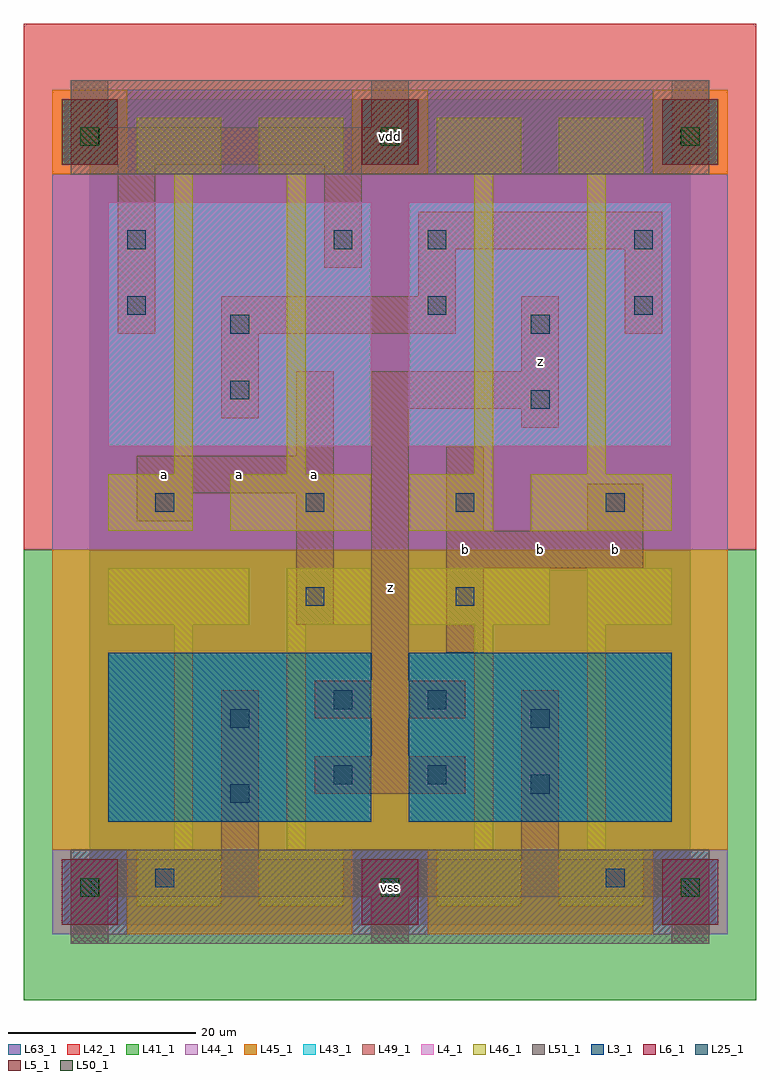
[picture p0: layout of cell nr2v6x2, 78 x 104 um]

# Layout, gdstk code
import gdstk
lib = gdstk.Library(unit=1e-6, precision=1e-09)
def R(c, l, rs):  # rectangles x0, y0, x1, y1
    for r in rs: c.add(gdstk.rectangle(r[:2], r[2:], *l))
def A(c, l, x, y, w, h, nx, ny, dx, dy):  # array of equal rectangles
    R(c, l, [(x+i*dx, y+j*dy, x+i*dx+w, y+j*dy+h) for i in range(nx) for j in range(ny)])
L3_1 = (3, 1)
L4_1 = (4, 1)
L5_1 = (5, 1)
L6_1 = (6, 1)
L25_1 = (25, 1)
L41_1 = (41, 1)
L42_1 = (42, 1)
L43_1 = (43, 1)
L44_1 = (44, 1)
L45_1 = (45, 1)
L46_1 = (46, 1)
L49_1 = (49, 1)
L50_1 = (50, 1)
L51_1 = (51, 1)
L63_1 = (63, 1)

nr2v6x2 = lib.new_cell('nr2v6x2')
R(nr2v6x2, L3_1, [(2,11,30,29), (34,11,62,29)])
R(nr2v6x2, L4_1, [(2,51,30,77), (34,51,62,77)])
A(nr2v6x2, L5_1, -3, 81, 6, 7, 3, 1, 32, 0)
R(nr2v6x2, L6_1, [(-3,0,3,7), (-3,0,3,7), (29,0,35,7), (29,0,35,7), (61,0,67,7), (61,0,67,7)])
A(nr2v6x2, L25_1, -1, 3, 2, 2, 3, 2, 32, 80)
A(nr2v6x2, L25_1, 7, 44, 2, 2, 4, 1, 16, 0)
R(nr2v6x2, L25_1, [(7,4,9,6), (55,4,57,6), (15,13,17,15), (47,14,49,16), (26,15,28,17), (36,15,38,17), (15,21,17,23), (47,21,49,23), (26,23,28,25), (36,23,38,25), (23,34,25,36), (39,34,41,36), (47,55,49,57), (15,56,17,58), (15,63,17,65), (47,63,49,65), (4,65,6,67), (36,65,38,67), (58,65,60,67), (4,72,6,74), (26,72,28,74), (36,72,38,74), (58,72,60,74)])
R(nr2v6x2, L41_1, [(-7,-8,71,40)])
R(nr2v6x2, L42_1, [(-7,40,71,96)])
A(nr2v6x2, L43_1, -3, 0, 6, 7, 3, 2, 32, 81)
R(nr2v6x2, L43_1, [(2,11,30,29), (34,11,62,29), (2,51,30,77), (34,51,62,77)])
A(nr2v6x2, L44_1, -4, -1, 8, 9, 3, 1, 32, 0)
R(nr2v6x2, L44_1, [(-4,40,68,80), (4,80,28,89), (36,80,60,89)])
A(nr2v6x2, L45_1, -4, 80, 8, 9, 3, 1, 32, 0)
R(nr2v6x2, L45_1, [(4,-1,28,8), (36,-1,60,8), (-4,8,68,40)])
R(nr2v6x2, L46_1, [(5,2,14,8), (18,2,27,8), (37,2,46,8), (50,2,59,8), (9,8,11,32), (21,8,23,32), (41,8,43,32), (53,8,55,32), (2,32,17,38), (21,32,30,38), (34,32,49,38), (53,32,62,38), (2,42,11,48), (15,42,30,48), (34,42,43,48), (47,42,62,48), (9,48,11,80), (21,48,23,80), (41,48,43,80), (53,48,55,80), (5,80,14,86), (18,80,27,86), (37,80,46,86), (50,80,59,86)])
A(nr2v6x2, L49_1, -2, -2, 4, 5, 3, 1, 32, 0)
R(nr2v6x2, L49_1, [(-2,3,66,7), (14,7,18,25), (46,7,50,25), (24,14,40,18), (30,18,34,22), (24,22,40,26), (30,26,34,55), (38,29,42,38), (22,32,26,46), (38,38,59,42), (38,42,42,51), (53,42,59,47), (5,43,11,46), (5,46,26,50), (22,50,26,59), (46,53,50,55), (14,54,18,63), (30,55,50,59), (46,59,50,67), (3,63,7,81), (14,63,39,67), (57,63,61,72), (35,67,39,72), (25,70,29,81), (35,72,61,76), (-2,81,34,85), (62,81,66,90), (-2,85,2,90), (30,85,34,90)])
A(nr2v6x2, L50_1, -1, 3, 2, 2, 3, 2, 32, 80)
R(nr2v6x2, L51_1, [(-2,-2,66,8), (-2,80,66,90)])
R(nr2v6x2, L63_1, [(0,0,64,88)])
nr2v6x2.add(gdstk.Label('a', (8,48), layer=49, texttype=1))
nr2v6x2.add(gdstk.Label('a', (24,48), layer=49, texttype=1))
nr2v6x2.add(gdstk.Label('a', (16,48), layer=49, texttype=1))
nr2v6x2.add(gdstk.Label('z', (32,36), layer=49, texttype=1))
nr2v6x2.add(gdstk.Label('b', (40,40), layer=49, texttype=1))
nr2v6x2.add(gdstk.Label('b', (48,40), layer=49, texttype=1))
nr2v6x2.add(gdstk.Label('b', (56,40), layer=49, texttype=1))
nr2v6x2.add(gdstk.Label('z', (48,60), layer=49, texttype=1))
nr2v6x2.add(gdstk.Label('vss', (32,4), layer=51, texttype=1))
nr2v6x2.add(gdstk.Label('vdd', (32,84), layer=51, texttype=1))

lib.write_gds('nr2v6x2.gds')
